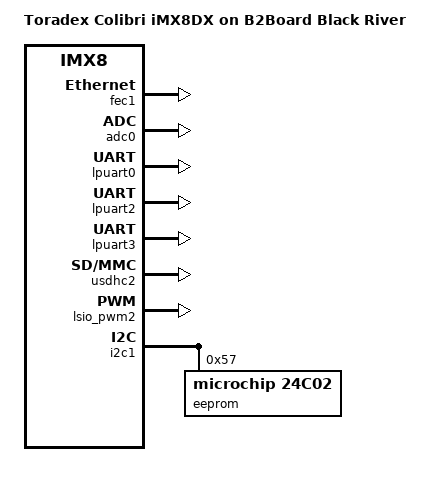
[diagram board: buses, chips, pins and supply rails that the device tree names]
// SPDX-License-Identifier: GPL-2.0-or-later OR MIT
/*
 * Copyright 2018-2021 Toradex
 */

/dts-v1/;

#include "imx8dx-colibri.dtsi"
#include "imx8x-colibri-eval-v3.dtsi"

/ {
	model = "Toradex Colibri iMX8DX on B2Board Black River";
	compatible = "toradex,colibri-imx8x-eval-v3",
		     "toradex,colibri-imx8x",
		     "fsl,imx8dx",
             "toradex,imx8-b2b-black-river";
};

/* Colibri Ethernet */
&fec1 {
    status = "okay";
};

/* Colibri Analogue Inputs- KNOB, LDR e NTC */
&adc0 {
    status = "okay";
};

/* Colibri UART_B */
&lpuart0 {
    status = "okay";
};

/* Colibri UART_C */
&lpuart2 {
    status = "okay";
};

/* Colibri UART_A */
&lpuart3 {
    status= "okay";
};

/* Colibri SDCard */
&usdhc2 {
    status = "okay";
};

/* Colibri PWM_A - KEY1 */
&adma_pwm {
    status = "disabled";
};

/* Colibri PWM_B */
&lsio_pwm0 {
    /* SODIMM  28  - LED2  */
    status = "disabled";
};

/* Colibri PWM_C */
&lsio_pwm1 {
    /* SODIMM  30  - LED3  */
    status = "disabled";
};

/* Colibri PWM_D */
&lsio_pwm2 {
    /* SODIMM 67 - BUZZER */
    status = "okay";
};

&flexcan1 {
    status = "disabled";
};

&flexcan2 {
    status = "disabled";
};

&flexcan3 {
    status = "disabled";
};

/* Colibri SPI - PIN USED IN DHT11 */
&lpspi2 {
    status = "disabled";
};

&i2c1 {
    status = "okay";

    eeprom@57 {
        compatible = "microchip,24c02", "atmel,24c02";
        reg = <0x57>;
        pagesize = <8>;
        // address-width = <8>;
    };
};

&iomuxc {
    pinctrl-names = "default";
    pinctrl-0 = <&pinctrl_ext_io0>, <&pinctrl_hog0>, <&pinctrl_hog1>,
                <&pinctrl_lpspi2_cs2>, <&pinctrl_gpio_shield>;

    pinctrl_gpio_shield: gpio-shield {
    	fsl,pins = <
                IMX8QXP_USB_SS3_TC1_LSIO_GPIO4_IO04	0x20          	/* SODIMM 133 - LED1  */
                IMX8QXP_UART1_TX_LSIO_GPIO0_IO21	0x20          	/* SODIMM 28  - LED2  */
                IMX8QXP_UART1_RX_LSIO_GPIO0_IO22	0x20          	/* SODIMM 30  - LED3  */
                IMX8QXP_FLEXCAN1_TX_LSIO_GPIO1_IO18	0x20          	/* SODIMM 55  - LED4  */
                IMX8QXP_SPI0_CS1_LSIO_GPIO1_IO07	0x06000061		/* SODIMM_59  - KEY1 Pull-up 100K */
                IMX8QXP_FLEXCAN1_RX_LSIO_GPIO1_IO17	0x06000061		/* SODIMM_63  - KEY0 Pull-up 100K */
        >;
    };
};
